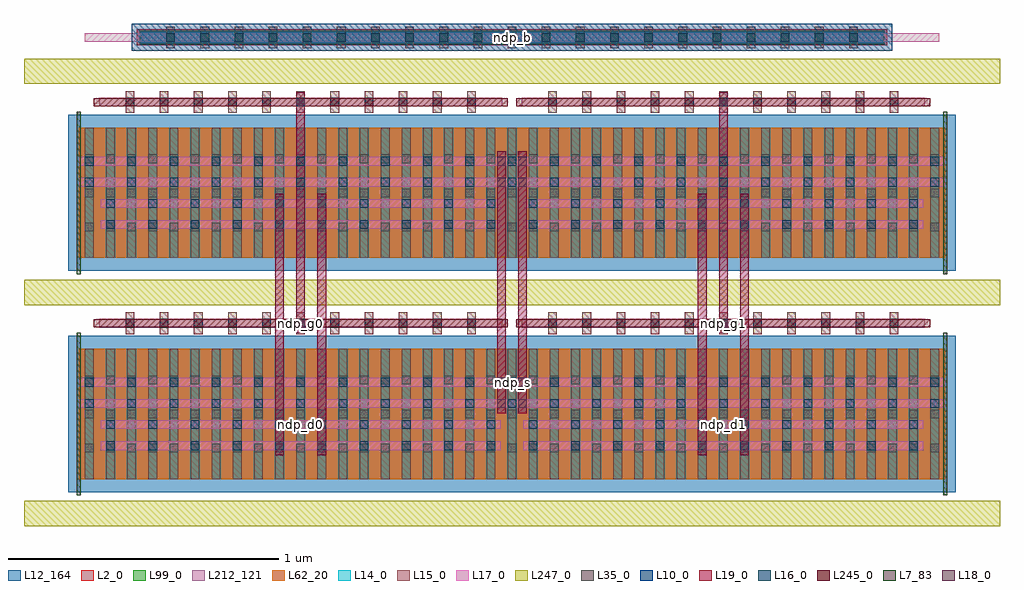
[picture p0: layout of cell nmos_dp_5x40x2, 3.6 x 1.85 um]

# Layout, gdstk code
import gdstk
lib = gdstk.Library(unit=1e-6, precision=1e-12)
def R(c, l, rs):  # rectangles x0, y0, x1, y1
    for r in rs: c.add(gdstk.rectangle(r[:2], r[2:], *l))
def A(c, l, x, y, w, h, nx, ny, dx, dy):  # array of equal rectangles
    R(c, l, [(x+i*dx, y+j*dy, x+i*dx+w, y+j*dy+h) for i in range(nx) for j in range(ny)])
L2_0 = (2, 0)
L7_83 = (7, 83)
L10_0 = (10, 0)
L12_164 = (12, 164)
L14_0 = (14, 0)
L15_0 = (15, 0)
L16_0 = (16, 0)
L17_0 = (17, 0)
L18_0 = (18, 0)
L19_0 = (19, 0)
L35_0 = (35, 0)
L62_20 = (62, 20)
L99_0 = (99, 0)
L212_121 = (212, 121)
L245_0 = (245, 0)
L247_0 = (247, 0)

nmos_dp_5x40x2 = lib.new_cell('nmos_dp_5x40x2')
R(nmos_dp_5x40x2, L2_0, [(0,0,3.198,0.48), (0,0.816,3.198,1.296), (0.215,1.6,2.983,1.66)])
R(nmos_dp_5x40x2, L7_83, [(-0.007,-0.06,0.007,0.54), (3.191,-0.06,3.205,0.54), (-0.007,0.756,0.007,1.356), (3.191,0.756,3.205,1.356)])
R(nmos_dp_5x40x2, L10_0, [(0.195,1.58,3.003,1.68)])
R(nmos_dp_5x40x2, L12_164, [(-0.039,-0.048,3.237,0.528), (-0.039,0.768,3.237,1.344)])
A(nmos_dp_5x40x2, L14_0, 0.022, 0, 0.034, 0.48, 41, 2, 0.078, 0.816)
R(nmos_dp_5x40x2, L14_0, [(0.23,1.61,2.968,1.65)])
A(nmos_dp_5x40x2, L15_0, 0.023, 0, 0.032, 0.48, 41, 2, 0.078, 0.816)
A(nmos_dp_5x40x2, L15_0, 0.173, 0.535, 0.032, 0.08, 11, 2, 0.126, 0.816)
A(nmos_dp_5x40x2, L15_0, 1.733, 0.535, 0.032, 0.08, 11, 2, 0.126, 0.816)
A(nmos_dp_5x40x2, L15_0, 0.323, 1.59, 0.032, 0.08, 21, 1, 0.126, 0)
A(nmos_dp_5x40x2, L16_0, 0.101, 0.107, 0.032, 0.032, 20, 2, 0.156, 0.078)
A(nmos_dp_5x40x2, L16_0, 0.023, 0.263, 0.032, 0.032, 21, 2, 0.156, 0.078)
A(nmos_dp_5x40x2, L16_0, 0.173, 0.559, 0.032, 0.032, 11, 2, 0.126, 0.816)
A(nmos_dp_5x40x2, L16_0, 1.733, 0.559, 0.032, 0.032, 11, 2, 0.126, 0.816)
A(nmos_dp_5x40x2, L16_0, 0.101, 0.923, 0.032, 0.032, 20, 2, 0.156, 0.078)
A(nmos_dp_5x40x2, L16_0, 0.023, 1.079, 0.032, 0.032, 21, 2, 0.156, 0.078)
A(nmos_dp_5x40x2, L16_0, 0.323, 1.614, 0.032, 0.032, 21, 1, 0.126, 0)
R(nmos_dp_5x40x2, L17_0, [(0.081,0.107,1.557,0.139), (1.641,0.107,3.117,0.139), (0.081,0.185,1.557,0.217), (1.641,0.185,3.117,0.217), (0,0.263,3.198,0.295), (0,0.341,3.198,0.373), (0.075,0.559,1.563,0.591), (1.635,0.559,3.123,0.591), (0.081,0.923,1.557,0.955), (1.641,0.923,3.117,0.955), (0.081,1.001,1.557,1.033), (1.641,1.001,3.117,1.033), (0,1.079,3.198,1.111), (0,1.157,3.198,1.189), (0.075,1.375,1.563,1.407), (1.635,1.375,3.123,1.407), (0.023,1.614,3.175,1.646)])
R(nmos_dp_5x40x2, L18_0, [(0.725,0.107,0.757,0.139), (0.881,0.107,0.913,0.139), (2.285,0.107,2.317,0.139), (2.441,0.107,2.473,0.139), (0.725,0.185,0.757,0.217), (0.881,0.185,0.913,0.217), (2.285,0.185,2.317,0.217), (2.441,0.185,2.473,0.217), (1.544,0.263,1.576,0.295), (1.622,0.263,1.654,0.295), (1.544,0.341,1.576,0.373), (1.622,0.341,1.654,0.373), (0.803,0.559,0.835,0.591), (2.363,0.559,2.395,0.591), (0.725,0.923,0.757,0.955), (0.881,0.923,0.913,0.955), (2.285,0.923,2.317,0.955), (2.441,0.923,2.473,0.955), (0.725,1.001,0.757,1.033), (0.881,1.001,0.913,1.033), (2.285,1.001,2.317,1.033), (2.441,1.001,2.473,1.033), (1.544,1.079,1.576,1.111), (1.622,1.079,1.654,1.111), (1.544,1.157,1.576,1.189), (1.622,1.157,1.654,1.189), (0.803,1.375,0.835,1.407), (2.363,1.375,2.395,1.407)])
R(nmos_dp_5x40x2, L19_0, [(0.725,0.087,0.757,1.053), (0.881,0.087,0.913,1.053), (2.285,0.087,2.317,1.053), (2.441,0.087,2.473,1.053), (1.544,0.243,1.576,1.209), (1.622,0.243,1.654,1.209), (0.803,0.539,0.835,1.428), (2.363,0.539,2.395,1.428)])
A(nmos_dp_5x40x2, L35_0, 0.023, 0.098, 0.032, 0.032, 41, 3, 0.078, 0.126)
A(nmos_dp_5x40x2, L35_0, 0.173, 0.559, 0.032, 0.032, 11, 2, 0.126, 0.816)
A(nmos_dp_5x40x2, L35_0, 1.733, 0.559, 0.032, 0.032, 11, 2, 0.126, 0.816)
A(nmos_dp_5x40x2, L35_0, 0.023, 0.914, 0.032, 0.032, 41, 3, 0.078, 0.126)
A(nmos_dp_5x40x2, L35_0, 0.323, 1.614, 0.032, 0.032, 21, 1, 0.126, 0)
R(nmos_dp_5x40x2, L62_20, [(0,0,3.198,0.48), (0,0.816,3.198,1.296)])
R(nmos_dp_5x40x2, L99_0, [(0,0,3.198,0.48), (0,0.816,3.198,1.296), (0.225,1.605,2.973,1.655)])
R(nmos_dp_5x40x2, L212_121, [(0,0,3.198,0.48), (0,0.816,3.198,1.296)])
R(nmos_dp_5x40x2, L245_0, [(0.055,0.56,1.583,0.59), (1.615,0.56,3.143,0.59), (0.055,1.376,1.583,1.406), (1.615,1.376,3.143,1.406)])
A(nmos_dp_5x40x2, L247_0, -0.202, -0.174, 3.602, 0.094, 1, 3, 0, 0.816)
nmos_dp_5x40x2.add(gdstk.Label('ndp_s', (1.599,0.357), layer=16, texttype=20))
nmos_dp_5x40x2.add(gdstk.Label('ndp_d1', (2.379,0.201), layer=16, texttype=20))
nmos_dp_5x40x2.add(gdstk.Label('ndp_d0', (0.819,0.201), layer=16, texttype=20))
nmos_dp_5x40x2.add(gdstk.Label('ndp_g0', (0.819,0.5755), layer=16, texttype=20))
nmos_dp_5x40x2.add(gdstk.Label('ndp_g1', (2.379,0.5755), layer=16, texttype=20))
nmos_dp_5x40x2.add(gdstk.Label('ndp_b', (1.599,1.63), layer=16, texttype=20))

lib.write_gds('nmos_dp_5x40x2.gds')
